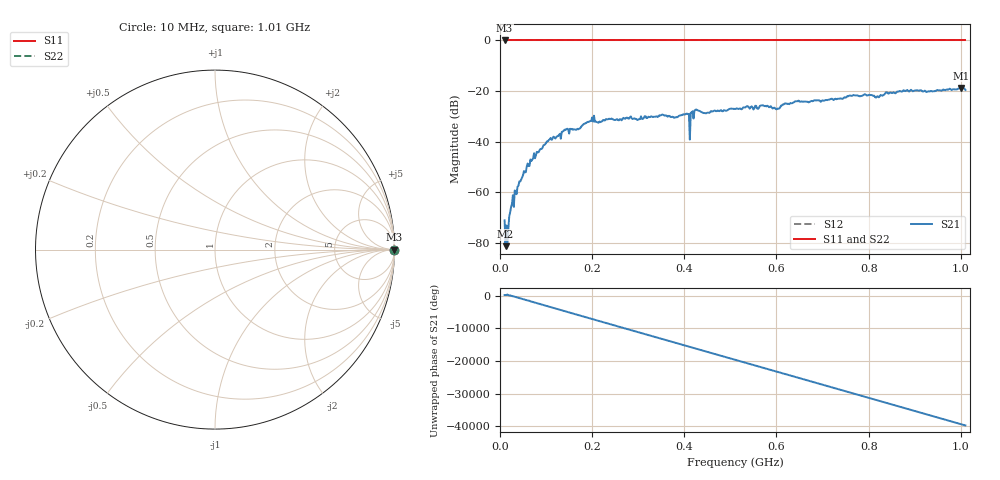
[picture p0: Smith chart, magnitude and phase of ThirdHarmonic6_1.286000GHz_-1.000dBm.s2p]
! 8/16/2025 2:02:13 PM
! C:\ANRITSUVNA\TEMP\TEMP.S2P
! CHANNEL.1
! TR.MEASUREMENT
! RAW.DATA
! RF.CORRECTION.OFF
! AVERAGING.OFF
! IF.BANDWIDTH: 5KHZ
! SWEEPTYPE:  FREQ.SWEEP(Linear)
! Reference Plane Port Info
! PORT:  PORT1  PORT2
! DISTANCE:  0  m  0  m
! TIME:  0  s  0  s
! PHASE.OFFSET:  0  deg.  0  deg.
! LOSS:  0  dB  0  dB
! REF.LOSS:  0  dB  0  dB
! REF.FREQ:  0  Hz  0  Hz
! Power Info
! POWER:  -20  dBm  -20  dBm
! EFF.POWER:  -20  dBm  -20  dBm
! SOURCE.ATTEN:  0  dB  0  dB
! TEST.ATTEN:  0  dB  0  dB
# GHZ S RI R 50.0
! FREQ.GHZ  S11RE  S11IM  S21RE  S21IM  S12RE  S12IM  S22RE  S22IM
!; PortSelection: Port_12
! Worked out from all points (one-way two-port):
!   501 points, 10 MHz to 1.01 GHz, reference 50 ohm
!   highest |S21| = -18.73 dB at 1 GHz (marker M1); lowest = -81.3 dB at 12 MHz (marker M2)
!   lowest |S11| = 0.0 dB at 10 MHz (marker M3)
!   |S11| at or under -10 dB: nowhere
!   |S22| runs from 0.0 to 0.0 dB; largest |S21 - S12| = 1.1
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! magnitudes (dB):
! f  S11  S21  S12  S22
! 10 MHz  0.0  -71.1  0.0  0.0
! 12 MHz  0.0  -81.3  0.0  0.0
! 16 MHz  0.0  -80.1  0.0  0.0
! 24 MHz  0.0  -65.8  0.0  0.0
! 36 MHz  0.0  -60.8  0.0  0.0
! 70 MHz  0.0  -47.1  0.0  0.0
! 106 MHz  0.0  -39.4  0.0  0.0
! 178 MHz  0.0  -33.7  0.0  0.0
! 200 MHz  0.0  -30.5  0.0  0.0
! 344 MHz  0.0  -30.0  0.0  0.0
! 406 MHz  0.0  -28.9  0.0  0.0
! 408 MHz  0.0  -29.2  0.0  0.0
! 416 MHz  0.0  -28.5  0.0  0.0
! 418 MHz  0.0  -28.0  0.0  0.0
! 426 MHz  0.0  -27.3  0.0  0.0
! 510 MHz  0.0  -27.1  0.0  0.0
! 602 MHz  0.0  -26.9  0.0  0.0
! 644 MHz  0.0  -24.0  0.0  0.0
! 678 MHz  0.0  -24.0  0.0  0.0
! 844 MHz  0.0  -20.9  0.0  0.0
! 1 GHz  0.0  -18.7  0.0  0.0
! 1.01 GHz  0.0  -19.5  0.0  0.0
